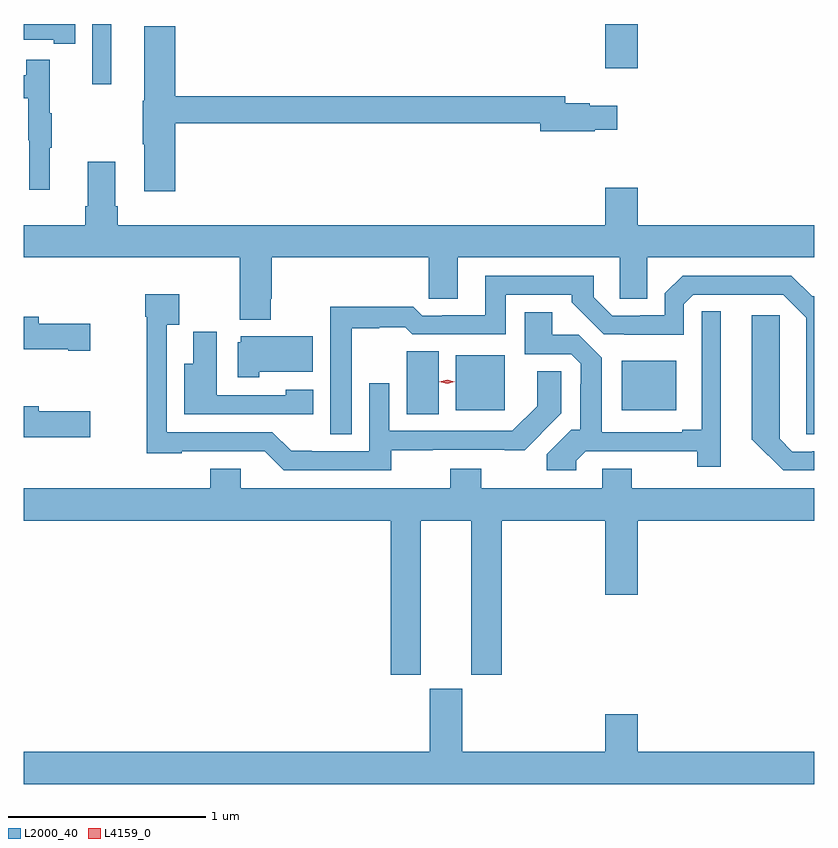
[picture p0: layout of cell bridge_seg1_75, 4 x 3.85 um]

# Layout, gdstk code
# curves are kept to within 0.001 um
import gdstk
lib = gdstk.Library(unit=1e-6, precision=1e-09)
def R(c, l, rs):  # rectangles x0, y0, x1, y1
    for r in rs: c.add(gdstk.rectangle(r[:2], r[2:], *l))
def P(c, l, *ps):  # polygons
    for p in ps: c.add(gdstk.Polygon(p, *l))
L2000_40 = (2000, 40)
L4159_0 = (4159, 0)

bridge_seg1_75 = lib.new_cell('bridge_seg1_75')
R(bridge_seg1_75, L2000_40, [(535.631,573.583,535.792,573.902), (535.88,573.602,536.128,573.88), (536.72,573.602,536.995,573.853), (534.039,575.253,534.136,575.557), (536.636,575.334,536.8,575.557)])
P(bridge_seg1_75, L2000_40, [(533.954,575.557),(533.693,575.557),(533.693,575.478),(533.846,575.478),(533.846,575.458),(533.954,575.458)],
  [(534.461,575.056),(536.306,575.056),(536.306,575.014),(536.582,575.014),(536.582,575.021),(536.695,575.021),(536.695,575.143),(536.556,575.143),(536.556,575.156),(536.434,575.156),(536.434,575.192),(534.461,575.192),(534.461,575.545),(534.302,575.545),(534.302,575.169),(534.295,575.169),(534.295,574.948),(534.302,574.948),(534.302,574.71),(534.461,574.71)],
  [(533.825,574.931),(533.836,574.931),(533.836,575.105),(533.825,575.105),(533.825,575.377),(533.707,575.377),(533.707,575.298),(533.693,575.298),(533.693,575.182),(533.715,575.182),(533.715,574.968),(533.722,574.968),(533.722,574.719),(533.825,574.719)],
  [(534.942,574.168),(534.947,574.168),(534.947,574.376),(535.742,574.376),(535.742,574.168),(535.888,574.168),(535.888,574.376),(536.708,574.376),(536.708,574.168),(536.848,574.168),(536.848,574.376),(537.693,574.376),(537.693,574.54),(536.8,574.54),(536.8,574.729),(536.636,574.729),(536.636,574.54),(534.17,574.54),(534.17,574.636),(534.157,574.636),(534.157,574.861),(534.017,574.861),(534.017,574.636),(534.005,574.636),(534.005,574.54),(533.693,574.54),(533.693,574.376),(534.787,574.376),(534.787,574.061),(534.942,574.061)],
  [(535.354,574.019),(535.493,574.019),(535.493,574.023),(535.624,574.023),(535.66,573.987),(536.131,573.987),(536.131,574.188),(536.466,574.188),(536.466,574.149),(536.628,573.987),(537.033,573.986),(537.033,574.14),(537.081,574.188),(537.537,574.188),(537.653,574.072),(537.653,573.481),(537.693,573.481),(537.693,574.179),(537.682,574.179),(537.577,574.284),(537.027,574.284),(536.937,574.194),(536.937,574.083),(536.812,574.083),(536.812,574.08),(536.67,574.08),(536.576,574.175),(536.576,574.284),(536.027,574.284),(536.027,574.083),(535.81,574.083),(535.81,574.08),(535.71,574.08),(535.664,574.126),(535.244,574.126),(535.244,573.481),(535.354,573.481)],
  [(535.552,573.401),(536.227,573.401),(536.311,573.484),(536.31,573.485),(536.413,573.588),(536.412,573.799),(536.292,573.799),(536.292,573.624),(536.166,573.498),(535.543,573.498),(535.543,573.739),(535.442,573.739),(535.442,573.396),(535.15,573.396),(535.15,573.398),(535.046,573.398),(534.951,573.492),(534.417,573.492),(534.417,574.035),(534.479,574.035),(534.479,574.189),(534.309,574.189),(534.309,574.076),(534.316,574.076),(534.316,573.386),(534.492,573.386),(534.492,573.396),(534.912,573.396),(535.008,573.3),(535.552,573.3)],
  [(536.488,573.347),(536.536,573.396),(537.1,573.395),(537.1,573.318),(537.22,573.318),(537.22,574.103),(537.123,574.103),(537.123,573.505),(537.026,573.505),(537.026,573.492),(536.617,573.492),(536.617,573.869),(536.502,573.984),(536.368,573.984),(536.368,574.099),(536.228,574.099),(536.228,573.885),(536.463,573.885),(536.511,573.837),(536.51,573.505),(536.464,573.505),(536.34,573.381),(536.34,573.3),(536.488,573.3)],
  [(537.693,573.396),(537.682,573.396),(537.682,573.393),(537.582,573.393),(537.518,573.458),(537.517,574.084),(537.377,574.084),(537.377,573.453),(537.38,573.453),(537.457,573.376),(537.458,573.377),(537.536,573.3),(537.693,573.3)],
  [(534.031,574.041),(533.77,574.041),(533.77,574.075),(533.693,574.075),(533.693,573.911),(533.918,573.911),(533.918,573.904),(534.031,573.904)],
  [(535.159,573.706),(535.02,573.706),(535.02,573.678),(534.67,573.678),(534.67,573.999),(534.552,573.999),(534.552,573.838),(534.506,573.838),(534.506,573.582),(535.159,573.582)],
  [(534.885,573.797),(535.156,573.797),(535.156,573.976),(534.792,573.976),(534.792,573.948),(534.776,573.948),(534.776,573.77),(534.885,573.77)],
  [(534.031,573.597),(533.77,573.597),(533.77,573.623),(533.693,573.623),(533.693,573.467),(534.031,573.467)],
  [(536.636,572.67),(536.8,572.67),(536.8,573.044),(537.693,573.044),(537.693,573.208),(536.769,573.208),(536.769,573.307),(536.621,573.307),(536.621,573.208),(536.007,573.208),(536.007,573.307),(535.852,573.307),(535.852,573.208),(534.79,573.208),(534.79,573.307),(534.638,573.307),(534.638,573.208),(533.693,573.208),(533.693,573.044),(535.55,573.044),(535.55,572.265),(535.702,572.265),(535.702,573.044),(535.958,573.044),(535.958,572.265),(536.111,572.265),(536.111,573.044),(536.636,573.044)],
  [(537.693,571.876),(536.8,571.876),(536.8,572.065),(536.636,572.065),(536.636,571.876),(535.912,571.876),(535.912,572.193),(535.748,572.193),(535.748,571.876),(533.693,571.876),(533.693,571.712),(537.693,571.712)])
P(bridge_seg1_75, L4159_0, [(535.835,573.737),(535.796,573.747),(535.796,573.747),(535.796,573.747),(535.835,573.757),(535.874,573.747),(535.874,573.747),(535.874,573.747)])

lib.write_gds('bridge_seg1_75.gds')
